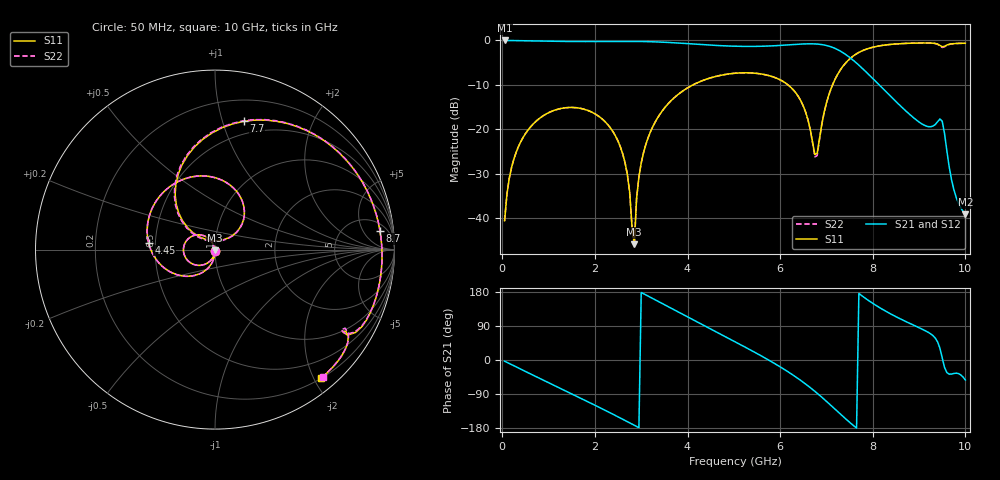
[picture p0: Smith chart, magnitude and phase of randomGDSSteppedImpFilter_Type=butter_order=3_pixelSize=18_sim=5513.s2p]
! freq	dB(S11)	phase(S11)	dB(S12)	phase(S12)
!  dB(S21)	phase(S21)	dB(S22)	phase(S22)
!S-par simulation data
#  GHz  S  DB  R 50
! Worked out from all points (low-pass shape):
!   200 points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, 50 MHz to 10 GHz, reference 50 ohm
!   highest |S21| = -0.01 dB at 50 MHz (marker M1); lowest = -39.1 dB at 10 GHz (marker M2)
!   |S21| within 3 dB of the highest: start of sweep to 7.393 GHz
!   lowest |S11| = -46.0 dB at 2.85 GHz (marker M3), VSWR 1.01, Z = 49.7 - j0.422 ohm
!   |S11| at or under -10 dB: start of sweep to 4.121 GHz; 6.167 GHz to 7.133 GHz (965.5 MHz wide, 14.5 % of centre)
!   |S22| runs from -46.4 to -0.6 dB; largest |S21 - S12| = 0
!   S11 on the Smith chart (normalised r, x): 50 MHz: 1.00, -0.02; 4.45 GHz: 0.46, +0.04; 7.7 GHz: 0.38, +1.18; 8.7 GHz: 8, +12; 10 GHz: 0.20, -2.11
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0.05  -40.61 -92.6  -0.01 -3.1  -0.01 -3.1  -40.63 -92.6
0.2  -28.63 -102.2  -0.04 -12.2  -0.04 -12.2  -28.63 -102.3
0.5  -21.01 -120.6  -0.08 -30.2  -0.08 -30.2  -21.01 -120.6
1.75  -15.45 165.1  -0.25 -104.4  -0.25 -104.4  -15.45 165.1
2.55  -23.98 117.7  -0.20 -153.2  -0.20 -153.2  -23.98 117.5
2.7  -30.17 110.5  -0.20 -162.6  -0.20 -162.6  -30.17 109.9
2.85  -45.96 -122.6  -0.21 -172.2  -0.21 -172.2  -46.35 -118.4
3  -27.61 -95.9  -0.24 178.2  -0.24 178.2  -27.61 -95.2
3.4  -16.68 -119.4  -0.37 152.3  -0.37 152.3  -16.68 -119.1
4.45  -8.59 174.0  -1.03 84.7  -1.03 84.7  -8.59 174.3
5.05  -7.38 136.3  -1.32 46.5  -1.32 46.5  -7.38 136.5
5.95  -8.63 77.2  -1.16 -14.4  -1.16 -14.4  -8.63 77.3
6.45  -13.67 43.5  -0.82 -54.4  -0.82 -54.4  -13.69 43.2
6.7  -22.87 49.5  -0.77 -77.7  -0.77 -77.7  -23.11 48.0
6.8  -25.41 110.3  -0.82 -87.8  -0.82 -87.8  -25.92 112.0
7.25  -7.49 121.2  -2.12 -137.1  -2.12 -137.1  -7.50 122.1
7.7  -2.70 77.4  -5.58 175.6  -5.58 175.6  -2.71 78.1
8.35  -0.93 27.4  -12.23 124.0  -12.23 124.0  -0.93 28.0
8.7  -0.68 6.5  -15.76 102.3  -15.76 102.3  -0.68 6.9
9.5  -1.44 -32.8  -18.21 5.2  -18.21 5.2  -1.59 -32.5
9.75  -0.72 -39.9  -33.58 -35.6  -33.58 -35.6  -0.74 -39.2
10  -0.64 -50.4  -39.13 -52.9  -39.13 -52.9  -0.65 -49.8
